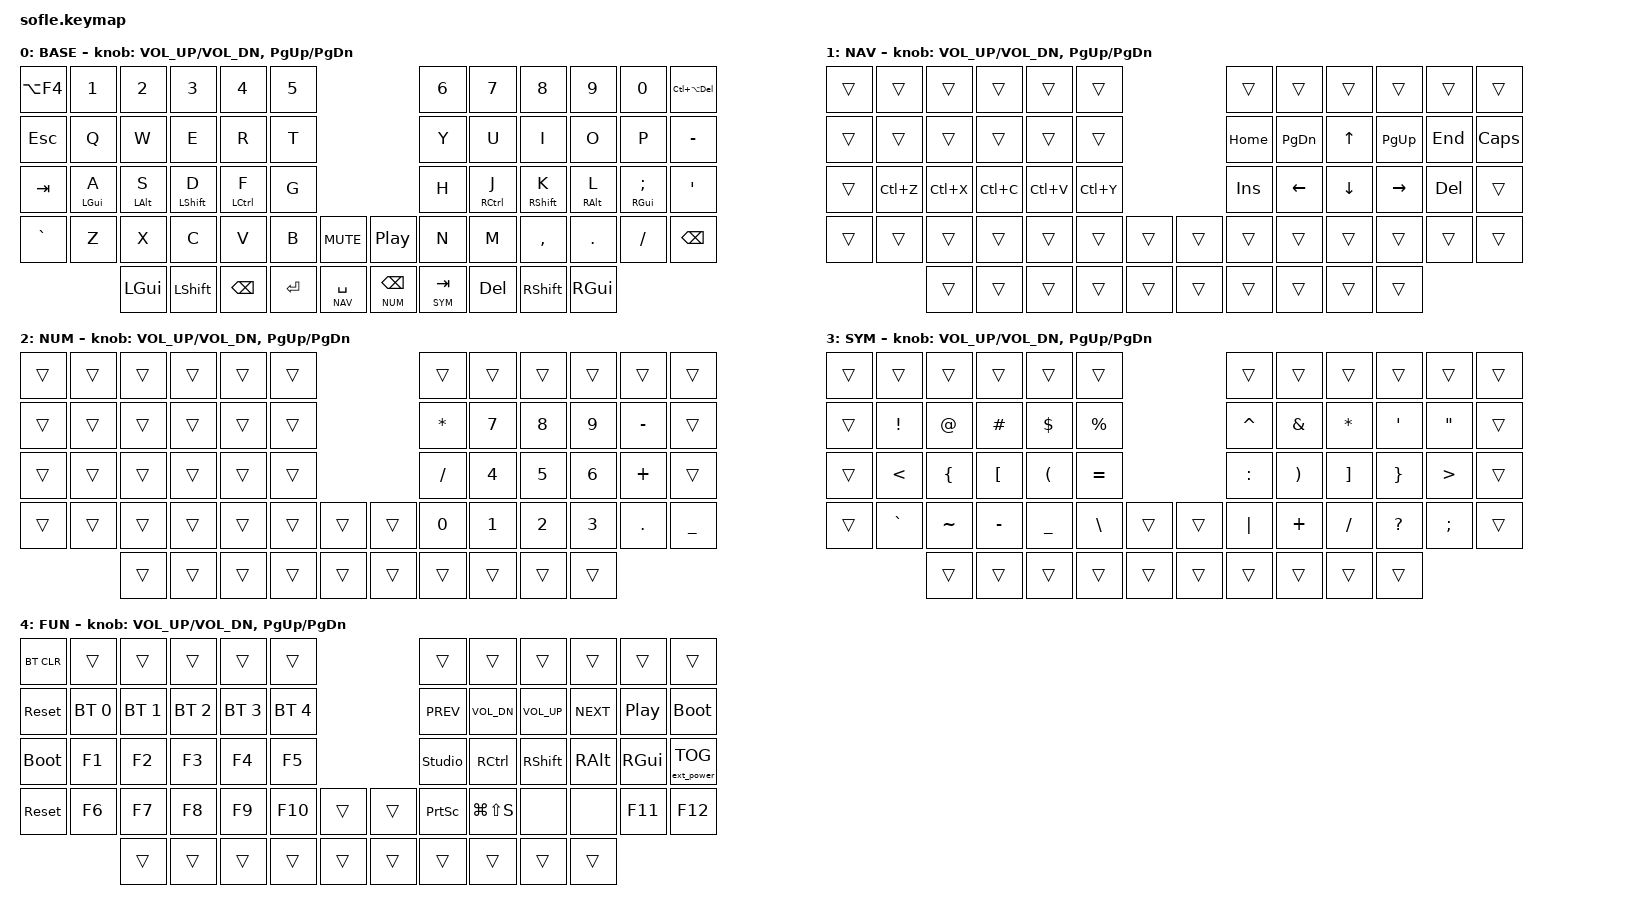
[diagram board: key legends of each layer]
/*
 * Copyright (c) 2020 The ZMK Contributors
 *
 * SPDX-License-Identifier: MIT
 *
 * Sofle 36-key core layout (ported for the DONGLE build)
 *  - Daily typing on the inner 3x5 + thumbs
 *  - Top number row + outer pinky columns hold rare/legacy keys
 *  - Home-row mods (GUI / ALT / SHIFT / CTRL, pinky->index, mirrored)
 *  - Layers: NAV, NUM, SYM, and FUN (NAV+NUM tri-layer)
 *
 * Thumbs (outer -> inner):
 *   left  = GUI | SHIFT | BSPC | ENTER | NAV/SPACE
 *   right = NUM/BSPC | SYM/TAB | DEL | SHIFT | GUI
 * Left thumb's old ESC is now BSPC (row-leftmost key keeps ESC instead).
 * NUM on a right thumb -> type the numpad with the right hand alone.
 * FUN = NAV + NUM held together (= SPACE + BSPC), the two innermost thumb
 * keys next to the split -> easier reach than NAV+SYM, still opposite hands.
 *
 * Dongle notes:
 *  - RGB underglow is disabled in sofle.conf, so the FUN layer has no
 *    &rgb_ug bindings (they would not compile). EXT_POWER + Studio are on,
 *    so FUN keeps &ext_power EP_TOG and adds &studio_unlock.
 *  - display-name (not label) so the dongle OLED shows the layer name.
 */

#include <behaviors.dtsi>
#include <dt-bindings/zmk/keys.h>
#include <dt-bindings/zmk/bt.h>
#include <dt-bindings/zmk/ext_power.h>

#define BASE 0
#define NAV  1
#define NUM  2
#define SYM  3
#define FUN  4

/ {
    behaviors {
        // Home-row mod, LEFT hand: acts as a modifier only when a RIGHT-hand
        // (or right-thumb) key follows -> avoids same-hand misfires.
        hml: home_row_mod_left {
            compatible = "zmk,behavior-hold-tap";
            #binding-cells = <2>;
            flavor = "balanced";
            tapping-term-ms = <200>;
            quick-tap-ms = <175>;
            require-prior-idle-ms = <125>;
            bindings = <&kp>, <&kp>;
            hold-trigger-on-release;
            hold-trigger-key-positions = <
                6 7 8 9 10 11
                18 19 20 21 22 23
                30 31 32 33 34 35
                44 45 46 47 48 49
                55 56 57 58 59
            >;
        };

        // Home-row mod, RIGHT hand: triggers only on a LEFT-hand key.
        hmr: home_row_mod_right {
            compatible = "zmk,behavior-hold-tap";
            #binding-cells = <2>;
            flavor = "balanced";
            tapping-term-ms = <200>;
            quick-tap-ms = <175>;
            require-prior-idle-ms = <125>;
            bindings = <&kp>, <&kp>;
            hold-trigger-on-release;
            hold-trigger-key-positions = <
                0 1 2 3 4 5
                12 13 14 15 16 17
                24 25 26 27 28 29
                36 37 38 39 40 41
                50 51 52 53 54
            >;
        };
    };

    // FUN layer appears when NAV and NUM are held together.
    conditional_layers {
        compatible = "zmk,conditional-layers";
        fun_layer {
            if-layers = <NAV NUM>;
            then-layer = <FUN>;
        };
    };

    combos {
        compatible = "zmk,combos";
        // Both thumb Shifts together -> Caps Word (CONSTANTS / SNAKE_CASE).
        // Bump timeout-ms if it misfires over the wireless split link.
        combo_caps_word {
            timeout-ms = <50>;
            key-positions = <51 58>;
            bindings = <&caps_word>;
        };
    };

    keymap {
        compatible = "zmk,keymap";

        base_layer {
            display-name = "BASE";
            // home-row mods:  A=GUI S=ALT D=SHFT F=CTRL    J=CTRL K=SHFT L=ALT ;=GUI
            bindings = <
&kp LA(F4) &kp N1        &kp N2        &kp N3        &kp N4        &kp N5                                    &kp N6     &kp N7        &kp N8        &kp N9       &kp N0          &kp LC(LA(DEL))
&kp ESC    &kp Q         &kp W         &kp E         &kp R         &kp T                                     &kp Y      &kp U         &kp I         &kp O        &kp P           &kp MINUS
&kp TAB    &hml LGUI A   &hml LALT S   &hml LSHFT D  &hml LCTRL F  &kp G                                     &kp H      &hmr RCTRL J  &hmr RSHFT K  &hmr RALT L  &hmr RGUI SEMI  &kp SQT
&kp GRAVE  &kp Z         &kp X         &kp C         &kp V         &kp B      &kp C_MUTE     &kp C_PP         &kp N      &kp M         &kp COMMA     &kp DOT      &kp FSLH        &kp BSPC
                         &kp LGUI  &kp LSHFT  &kp BSPC  &kp ENTER  &lt NAV SPACE      &lt NUM BSPC  &lt SYM TAB  &kp DEL  &kp RSHFT  &kp RGUI
            >;
            sensor-bindings = <&inc_dec_kp C_VOL_UP C_VOL_DN &inc_dec_kp PG_UP PG_DN>;
        };

        nav_layer {
            display-name = "NAV";
            // Right hand = arrows / paging (inverted-T: UP on I, LEFT/DOWN/RIGHT on J/K/L)
            //              INS sits under HOME (index finger), DEL right of RIGHT
            // Left hand  = undo / cut / copy / paste / redo
            bindings = <
&trans     &trans        &trans        &trans        &trans        &trans                                    &trans     &trans        &trans        &trans       &trans          &trans
&trans     &trans        &trans        &trans        &trans        &trans                                    &kp HOME   &kp PG_DN     &kp UP        &kp PG_UP    &kp END         &kp CAPS
&trans     &kp LC(Z)     &kp LC(X)     &kp LC(C)     &kp LC(V)     &kp LC(Y)                                 &kp INS    &kp LEFT      &kp DOWN      &kp RIGHT    &kp DEL         &trans
&trans     &trans        &trans        &trans        &trans        &trans     &trans         &trans          &trans     &trans        &trans        &trans       &trans          &trans
                         &trans  &trans  &trans  &trans  &trans                  &trans  &trans  &trans  &trans  &trans
            >;
            sensor-bindings = <&inc_dec_kp C_VOL_UP C_VOL_DN &inc_dec_kp PG_UP PG_DN>;
        };

        num_layer {
            display-name = "NUM";
            // Numpad under the right hand: 7-8-9 / 4-5-6 / 1-2-3, 0 on N, operators on the flanks
            bindings = <
&trans     &trans        &trans        &trans        &trans        &trans                                    &trans     &trans        &trans        &trans       &trans          &trans
&trans     &trans        &trans        &trans        &trans        &trans                                    &kp ASTRK  &kp N7        &kp N8        &kp N9       &kp MINUS       &trans
&trans     &trans        &trans        &trans        &trans        &trans                                    &kp FSLH   &kp N4        &kp N5        &kp N6       &kp PLUS        &trans
&trans     &trans        &trans        &trans        &trans        &trans     &trans         &trans          &kp N0     &kp N1        &kp N2        &kp N3       &kp DOT         &kp UNDER
                         &trans  &trans  &trans  &trans  &trans                  &trans  &trans  &trans  &trans  &trans
            >;
            sensor-bindings = <&inc_dec_kp C_VOL_UP C_VOL_DN &inc_dec_kp PG_UP PG_DN>;
        };

        sym_layer {
            display-name = "SYM";
            // Top:  ! at # $ %   |  caret amp * ' "
            // Home: < { [ ( =    |  : ) ] } >
            // Bot:  grave ~ - _ \  |  pipe + / ? ;
            bindings = <
&trans     &trans        &trans        &trans        &trans        &trans                                    &trans          &trans        &trans        &trans       &trans              &trans
&trans     &kp EXCL      &kp AT        &kp HASH      &kp DLLR      &kp PRCNT                                 &kp CARET       &kp AMPS      &kp ASTRK     &kp SQT      &kp DQT             &trans
&trans     &kp LESS_THAN &kp LBRC      &kp LBKT      &kp LPAR      &kp EQUAL                                 &kp COLON       &kp RPAR      &kp RBKT      &kp RBRC     &kp GREATER_THAN    &trans
&trans     &kp GRAVE     &kp TILDE     &kp MINUS     &kp UNDER     &kp BSLH   &trans         &trans          &kp PIPE        &kp PLUS      &kp FSLH      &kp QMARK    &kp SEMI            &trans
                         &trans  &trans  &trans  &trans  &trans                  &trans  &trans  &trans  &trans  &trans
            >;
            sensor-bindings = <&inc_dec_kp C_VOL_UP C_VOL_DN &inc_dec_kp PG_UP PG_DN>;
        };

        fun_layer {
            display-name = "FUN";
            // Left = F-keys; right home row = Ctrl/Shift/Alt/GUI (so e.g. Alt+F4
            // = hold both thumbs, hold L=Alt, tap F=F4). Media, BT, Studio, reset.
            // Bottom-right: PSCRN (full screen) + Win+Shift+S (Windows region snip).
            bindings = <
&bt BT_CLR    &trans        &trans        &trans        &trans        &trans                                  &trans          &trans       &trans       &trans       &trans       &trans
&sys_reset    &bt BT_SEL 0  &bt BT_SEL 1  &bt BT_SEL 2  &bt BT_SEL 3  &bt BT_SEL 4                            &kp C_PREV      &kp C_VOL_DN &kp C_VOL_UP &kp C_NEXT   &kp C_PP     &bootloader
&bootloader   &kp F1        &kp F2        &kp F3        &kp F4        &kp F5                                  &studio_unlock  &kp RCTRL    &kp RSHFT    &kp RALT     &kp RGUI     &ext_power EP_TOG
&sys_reset    &kp F6        &kp F7        &kp F8        &kp F9        &kp F10    &trans         &trans         &kp PSCRN       &kp LG(LS(S)) &none        &none        &kp F11      &kp F12
                            &trans  &trans  &trans  &trans  &trans                  &trans  &trans  &trans  &trans  &trans
            >;
            sensor-bindings = <&inc_dec_kp C_VOL_UP C_VOL_DN &inc_dec_kp PG_UP PG_DN>;
        };
    };
};

// Thumb layer-taps (NUM/TAB, NAV/SPACE, SYM/BSPC):
//  - flavor "balanced": holding the thumb + pressing another key resolves to
//    the LAYER (so e.g. hold SYM/BSPC then tap a key types the symbol, not
//    the base letter).
//  - quick-tap-ms 0: DISABLE tap-then-hold auto-repeat. Otherwise holding the
//    SYM/BSPC thumb would machine-gun Backspace instead of entering SYM.
//    To repeat Backspace, hold the plain BSPC on the top-right pinky instead.
&lt {
    flavor = "balanced";
    tapping-term-ms = <200>;
    quick-tap-ms = <0>;
};
